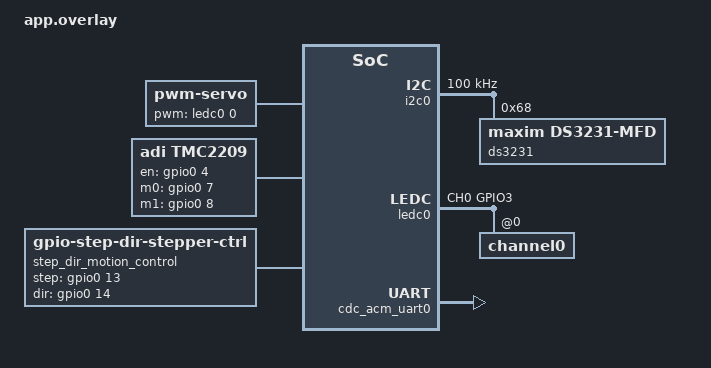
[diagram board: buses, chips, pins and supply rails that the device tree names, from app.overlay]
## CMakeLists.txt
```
cmake_minimum_required(VERSION 3.20.0)

find_package(Zephyr REQUIRED HINTS $ENV{ZEPHYR_BASE})
project(esp32_drivers)

include_directories(include)
include_directories(drivers/uart)
include_directories(drivers/servo)
include_directories(drivers/stepper)
include_directories(drivers/rtc)

FILE(GLOB app_sources src/*.c)
target_sources(app PRIVATE ${app_sources} drivers/uart/uart.c drivers/servo/servo.c drivers/stepper/stepper.c drivers/rtc/rtc.c)
```

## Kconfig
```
source "Kconfig.zephyr"

rsource "drivers/uart/Kconfig"
rsource "drivers/stepper/Kconfig"

menu "App Settings"

endmenu

menu "USBD options"
	depends on USB_DEVICE_STACK_NEXT

config USBD_MANUFACTURER
	string "USB device manufacturer string"
	default "Zephyr Project"
	help
	  USB device manufacturer string.

config USBD_PRODUCT
	string "USB device product string"
	default "USBD"
	help
	  USB device product stringa.

config USBD_VID
	hex "USB device Vendor ID"
	default 0x2fe3
	help
	  USB device Vendor ID. The default id (0x2fe3) is associated to
	  Zephyr Project, you must use your own VID fors and applications
	  outside of Zephyr Project.

config USBD_PID
	hex "USB device Product ID"
	default 0x0001
	help
	  USB device Product ID. You must use your own PID fors
	  and applications outside of Zephyr Project.

config USBD_SELF_POWERED
	bool "USB device Self-powered attribute"
	default y
	help
	  Set the Self-powered attribute in the configuration.

config USBD_REMOTE_WAKEUP
	bool "USB device Remote Wakeup attribute"
	help
	  Set the Remote Wakeup attribute in the configuration.

config USBD_MAX_POWER
	int "USB device bMaxPower value"
	default 125
	range 0 250
	help
	  bMaxPower value in the configuration in 2 mA units.

config USBD_20_EXTENSION_DESC
	bool "Use default USB 2.0 Extension Descriptor"
	depends on USBD_BOS_SUPPORT
	help
	  Set bcdUSB value to 0201 and use default USB 2.0 Extension Descriptor.

endmenu
```

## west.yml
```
manifest:
  remotes:
    - name: zephyrproject-rtos
      url-base: https://github.com/zephyrproject-rtos
  projects:
    - name: zephyr
      remote: zephyrproject-rtos
      revision: v4.4.0
      import: true
```

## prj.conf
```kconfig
CONFIG_UART_INTERRUPT_DRIVEN=y

CONFIG_RING_BUFFER=y

# Logging
CONFIG_LOG=y
CONFIG_LOG_OUTPUT=y
CONFIG_LOG_DEFAULT_LEVEL=4
CONFIG_LOG_BACKEND_UART=n
CONFIG_KERNEL_LOG_LEVEL_WRN=y

# CDC ACM
CONFIG_USB_DEVICE_STACK_NEXT=y
CONFIG_UDC_DWC2=y
CONFIG_USBD_CDC_ACM_CLASS=y
CONFIG_USBD_CDC_ACM_LOG_LEVEL_WRN=y
CONFIG_USBD_LOG_LEVEL_WRN=y
CONFIG_UDC_DRIVER_LOG_LEVEL_WRN=y

# USB Descriptor
CONFIG_USBD_PID=0x0001
CONFIG_USBD_PRODUCT="USBD Dog Feeder ACM"

# MOTORS
CONFIG_PWM=y
CONFIG_STEPPER=y
CONFIG_STEPPER_ADI_TMC2209=y

# RTC
CONFIG_I2C=y
CONFIG_RTC=y
CONFIG_RTC_ALARM=y
CONFIG_RTC_DS3231=y
```

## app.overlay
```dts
#include <zephyr/dt-bindings/pwm/pwm.h>

/ {
    chosen {
        zephyr,console = &cdc_acm_uart0;
    };

    servo: servo {
        compatible = "pwm-servo";
        /* SG90 micro servo, empirically calibrated (datasheet range: ~500-2400us) */
        pwms = <&ledc0 0 PWM_MSEC(20) PWM_POLARITY_NORMAL>;
        min-pulse = <PWM_USEC(500)>;
        max-pulse = <PWM_USEC(2400)>;
    };

    aliases {
		stepper-driver = &tmc2209;
		stepper-ctrl = &step_dir_motion_control;
	};

	tmc2209: stepper-driver {
		compatible = "adi,tmc2209";
		en-gpios = <&gpio0 4 GPIO_ACTIVE_HIGH>;
		m0-gpios = <&gpio0 7 GPIO_ACTIVE_HIGH>;
		m1-gpios = <&gpio0 8 GPIO_ACTIVE_HIGH>;
		micro-step-res = <32>;
	};

	step_dir_motion_control: motion-controller {
		compatible = "zephyr,gpio-step-dir-stepper-ctrl";
		step-gpios = <&gpio0 13 GPIO_ACTIVE_HIGH>;
		dir-gpios = <&gpio0 14 GPIO_ACTIVE_HIGH>;
		invert-direction;
		stepper-driver = <&tmc2209>;
	};
};

&spi2 {
    status = "disabled";
};

&i2c0 {
    status = "okay";
    clock-frequency = <I2C_BITRATE_STANDARD>; /* 100 kHz or use I2C_BITRATE_FAST for 400kHz */

    ds3231: ds3231@68 {
        compatible = "maxim,ds3231-mfd";
        reg = <0x68>;
        status = "okay";

        ds3231_rtc: ds3231_rtc {
            compatible = "maxim,ds3231-rtc";
            status = "okay";
            isw-gpios = <&gpio0 15 (GPIO_PULL_UP | GPIO_ACTIVE_LOW)>;
            freq-32khz-gpios = <&gpio0 16 (GPIO_PULL_UP | GPIO_ACTIVE_LOW)>;
        };
    };
};

&pinctrl {
    ledc0_default: ledc0_default {
        group1 {
            pinmux = <LEDC_CH0_GPIO3>;
            output-enable;
        };
    };
};

&ledc0 {
    pinctrl-0 = <&ledc0_default>;
    pinctrl-names = "default";
    status = "okay";
    #address-cells = <1>;
    #size-cells = <0>;

    channel0@0 {
        reg = <0x0>;
        timer = <0>;
    };
};

&zephyr_udc0 {
    cdc_acm_uart0: cdc_acm_uart0 {
            compatible = "zephyr,cdc-acm-uart";
    };
};
```

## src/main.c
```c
#include <zephyr/kernel.h>
#include <zephyr/drivers/rtc.h>
#include <zephyr/logging/log.h>

#include "uart.h"
#include "servo.h"
#include "stepper.h"
#include "rtc.h"
#include "usbd_configurator.h"

LOG_MODULE_REGISTER(esp32_app_module, CONFIG_LOG_DEFAULT_LEVEL);

static const struct device *const uart_dev = DEVICE_DT_GET_ONE(zephyr_cdc_acm_uart);

static struct usbd_context usbd_ctx;

int main(void)
{
    int ret;

    if(init_uart(uart_dev)) {
        LOG_ERR("Error initializing UART");
        return -1;
    }
    
    ret = init_cdc_acm(&usbd_ctx);
	if (ret != 0) {
        LOG_ERR("Error initializing USB CDC ACM device support");
		return ret;
	}

    ret = init_stepper();
	if (ret != 0) {
        LOG_ERR("Error initializing stepper motor");
		return ret;
	}

    ret = init_rtc();
    if (ret != 0) {
        LOG_ERR("Error initializing RTC");
		return ret;
	}
    
    LOG_INF("ESP32 Successfully booted");
    
    ret = set_servo_deg_pos(10);
    ret = stepper_move_by_deg(10);

    return 0;
}
```

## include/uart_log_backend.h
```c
#ifndef UART_LOG_BACKEND_H
#define UART_LOG_BACKEND_H

#endif // UART_LOG_BACKEND_H
```

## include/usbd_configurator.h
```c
#ifndef USBD_CONFIGURATOR
#define USBD_CONFIGURATOR

#include <zephyr/usb/usbd.h>

int init_cdc_acm(struct usbd_context *usbd_ctx);

#endif // USBD_CONFIGURATOR
```

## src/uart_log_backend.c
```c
#include <zephyr/logging/log_backend.h>
#include <zephyr/logging/log_backend_std.h>
#include <zephyr/logging/log_output.h>

#include "uart_log_backend.h"
#include "uart.h"

static uint8_t log_buf[256];

static volatile bool panic_mode;

static int out_cb_fn(uint8_t *data, size_t length, void *ctx)
{
    if (panic_mode) {
        uart_write_sync(data, length);
        return length;
    }
    return uart_write(data, length, K_MSEC(100));
}

LOG_OUTPUT_DEFINE(log_output_inst, out_cb_fn, log_buf, sizeof(log_buf));

static void process_log_cb(const struct log_backend *const backend, union log_msg_generic *msg) {
    log_output_msg_process(&log_output_inst, &msg->log, LOG_OUTPUT_FLAG_LEVEL | LOG_OUTPUT_FLAG_TIMESTAMP);
}

static void panic_log_cb(const struct log_backend *const backend) {
    panic_mode = true;
    log_backend_std_panic(&log_output_inst);
}

const struct log_backend_api log_backend_inst_api = {
    .process = process_log_cb,
    .panic = panic_log_cb,
};

LOG_BACKEND_DEFINE(uart_log_backend, log_backend_inst_api, true);
```

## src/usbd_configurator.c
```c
#include <zephyr/kernel.h>
#include <zephyr/logging/log.h>
#include <zephyr/drivers/uart.h>
#include <zephyr/device.h>

#include "usbd_configurator.h"

LOG_MODULE_REGISTER(usbd_config);

/* By default, do not register the USB DFU class DFU mode instance. */
static const char *const blocklist[] = {
	"dfu_dfu",
	NULL,
};

/* doc device instantiation start */
/*
 * Instantiate a context named usbd_ctx using the default USB device
 * controller, the Zephyr project vendor ID, and the sample product ID.
 * Zephyr project vendor ID must not be used outside of Zephyr samples.
 */
USBD_DEVICE_DEFINE(usbd_ctx,
		   DEVICE_DT_GET(DT_NODELABEL(zephyr_udc0)),
		   CONFIG_USBD_VID, CONFIG_USBD_PID);
/* doc device instantiation end */

/* doc string instantiation start */
USBD_DESC_LANG_DEFINE(sample_lang);
USBD_DESC_MANUFACTURER_DEFINE(manufecturer, CONFIG_USBD_MANUFACTURER);
USBD_DESC_PRODUCT_DEFINE(product_d, CONFIG_USBD_PRODUCT);
IF_ENABLED(CONFIG_HWINFO, (USBD_DESC_SERIAL_NUMBER_DEFINE(sample_sn)));

/* doc string instantiation end */

USBD_DESC_CONFIG_DEFINE(fs_cfg_desc, "FS Configuration");
USBD_DESC_CONFIG_DEFINE(hs_cfg_desc, "HS Configuration");

/* doc configuration instantiation start */
static const uint8_t attributes = (IS_ENABLED(CONFIG_USBD_SELF_POWERED) ?
				   USB_SCD_SELF_POWERED : 0) |
				  (IS_ENABLED(CONFIG_USBD_REMOTE_WAKEUP) ?
				   USB_SCD_REMOTE_WAKEUP : 0);

/* Full speed configuration */
USBD_CONFIGURATION_DEFINE(sample_fs_config,
			  attributes,
			  CONFIG_USBD_MAX_POWER, &fs_cfg_desc);

/* High speed configuration */
USBD_CONFIGURATION_DEFINE(sample_hs_config,
			  attributes,
			  CONFIG_USBD_MAX_POWER, &hs_cfg_desc);
/* doc configuration instantiation end */

static inline void print_baudrate(const struct device *dev)
{
	uint32_t baudrate;
	int ret;

	ret = uart_line_ctrl_get(dev, UART_LINE_CTRL_BAUD_RATE, &baudrate);
	if (ret) {
		LOG_WRN("Failed to get baudrate, ret code %d", ret);
	} else {
		LOG_INF("Baudrate %u", baudrate);
	}
}

static void test_msg_cb(struct usbd_context *const ctx, const struct usbd_msg *msg)
{
	LOG_INF("USBD message: %s", usbd_msg_type_string(msg->type));

	if (usbd_can_detect_vbus(ctx)) {
		if (msg->type == USBD_MSG_VBUS_READY) {
			if (usbd_enable(ctx)) {
				LOG_ERR("Failed to enable device support");
			}
		}

		if (msg->type == USBD_MSG_VBUS_REMOVED) {
			if (usbd_disable(ctx)) {
				LOG_ERR("Failed to disable device support");
			}
		}
	}

	if (msg->type == USBD_MSG_CDC_ACM_CONTROL_LINE_STATE) {
		uint32_t dtr = 0U;

		uart_line_ctrl_get(msg->dev, UART_LINE_CTRL_DTR, &dtr);
		LOG_DBG("Control line state: dtr=%u", dtr);
	}

	if (msg->type == USBD_MSG_CDC_ACM_LINE_CODING) {
		print_baudrate(msg->dev);
	}
}

static void sample_fix_code_triple(struct usbd_context *usbd_ctx,
				   const enum usbd_speed speed)
{
	/* Always use class code information from Interface Descriptors */
	if (IS_ENABLED(CONFIG_USBD_CDC_ACM_CLASS) ||
	    IS_ENABLED(CONFIG_USBD_CDC_ECM_CLASS) ||
	    IS_ENABLED(CONFIG_USBD_CDC_NCM_CLASS) ||
	    IS_ENABLED(CONFIG_USBD_MIDI2_CLASS) ||
	    IS_ENABLED(CONFIG_USBD_AUDIO2_CLASS) ||
	    IS_ENABLED(CONFIG_USBD_VIDEO_CLASS)) {
		/*
		 * Class with multiple interfaces have an Interface
		 * Association Descriptor available, use an appropriate triple
		 * to indicate it.
		 */
		usbd_device_set_code_triple(usbd_ctx, speed,
					    USB_BCC_MISCELLANEOUS, 0x02, 0x01);
	} else {
		usbd_device_set_code_triple(usbd_ctx, speed, 0, 0, 0);
	}
}

static struct usbd_context *usbd_setup_device(usbd_msg_cb_t msg_cb)
{
	int err;

	/* doc add string descriptor start */
	err = usbd_add_descriptor(&usbd_ctx, &sample_lang);
	if (err) {
		LOG_ERR("Failed to initialize language descriptor (errno=%d)", err);
		return NULL;
	}

	err = usbd_add_descriptor(&usbd_ctx, &manufecturer);
	if (err) {
		LOG_ERR("Failed to initialize manufacturer descriptor (errno=%d)", err);
		return NULL;
	}

	err = usbd_add_descriptor(&usbd_ctx, &product_d);
	if (err) {
		LOG_ERR("Failed to initialize product descriptor (errno=%d)", err);
		return NULL;
	}

	IF_ENABLED(CONFIG_HWINFO, (
		err = usbd_add_descriptor(&usbd_ctx, &sample_sn);
	))
	if (err) {
		LOG_ERR("Failed to initialize SN descriptor (errno=%d)", err);
		return NULL;
	}
	/* doc add string descriptor end */

	if (USBD_SUPPORTS_HIGH_SPEED &&
	    usbd_caps_speed(&usbd_ctx) == USBD_SPEED_HS) {
		err = usbd_add_configuration(&usbd_ctx, USBD_SPEED_HS,
					     &sample_hs_config);
		if (err) {
			LOG_ERR("Failed to add High-Speed configuration");
			return NULL;
		}

		err = usbd_register_all_classes(&usbd_ctx, USBD_SPEED_HS, 1,
						blocklist);
		if (err) {
			LOG_ERR("Failed to add register classes");
			return NULL;
		}

		sample_fix_code_triple(&usbd_ctx, USBD_SPEED_HS);
	}

	/* doc configuration register start */
	err = usbd_add_configuration(&usbd_ctx, USBD_SPEED_FS,
				     &sample_fs_config);
	if (err) {
		LOG_ERR("Failed to add Full-Speed configuration");
		return NULL;
	}
	/* doc configuration register end */

	/* doc functions register start */
	err = usbd_register_all_classes(&usbd_ctx, USBD_SPEED_FS, 1, blocklist);
	if (err) {
		LOG_ERR("Failed to add register classes");
		return NULL;
	}
	/* doc functions register end */

	sample_fix_code_triple(&usbd_ctx, USBD_SPEED_FS);
	usbd_self_powered(&usbd_ctx, attributes & USB_SCD_SELF_POWERED);

	if (msg_cb != NULL) {
		/* doc device init-and-msg start */
		err = usbd_msg_register_cb(&usbd_ctx, msg_cb);
		if (err) {
			LOG_ERR("Failed to register message callback");
			return NULL;
		}
		/* doc device init-and-msg end */
	}

#if CONFIG_usbd_ctx_20_EXTENSION_DESC
	(void)usbd_device_set_bcd_usb(&usbd_ctx, USBD_SPEED_FS, 0x0201);
	(void)usbd_device_set_bcd_usb(&usbd_ctx, USBD_SPEED_HS, 0x0201);

	err = usbd_add_descriptor(&usbd_ctx, &sample_usbext);
	if (err) {
		LOG_ERR("Failed to add USB 2.0 Extension Descriptor");
		return NULL;
	}
#endif

	return &usbd_ctx;
}

static struct usbd_context *usbd_init_device(usbd_msg_cb_t msg_cb)
{
	int err;

	if (usbd_setup_device(msg_cb) == NULL) {
		return NULL;
	}

	/* doc device init start */
	err = usbd_init(&usbd_ctx);
	if (err) {
		LOG_ERR("Failed to initialize device support (errno=%d)", err);
		return NULL;
	}

	return &usbd_ctx;
}

int init_cdc_acm(struct usbd_context *usbd_ctx) {
	int err;

	usbd_ctx = usbd_init_device(test_msg_cb);
	if (usbd_ctx == NULL) {
		LOG_ERR("Failed to initialize USB device");
		return -ENODEV;
	}

	if (!usbd_can_detect_vbus(usbd_ctx)) {
		err = usbd_enable(usbd_ctx);
		if (err) {
			LOG_ERR("Failed to enable device support (errno=%d)", err);
			return err;
		}
	}

	LOG_INF("USB device support enabled");

	return 0;
}
```
